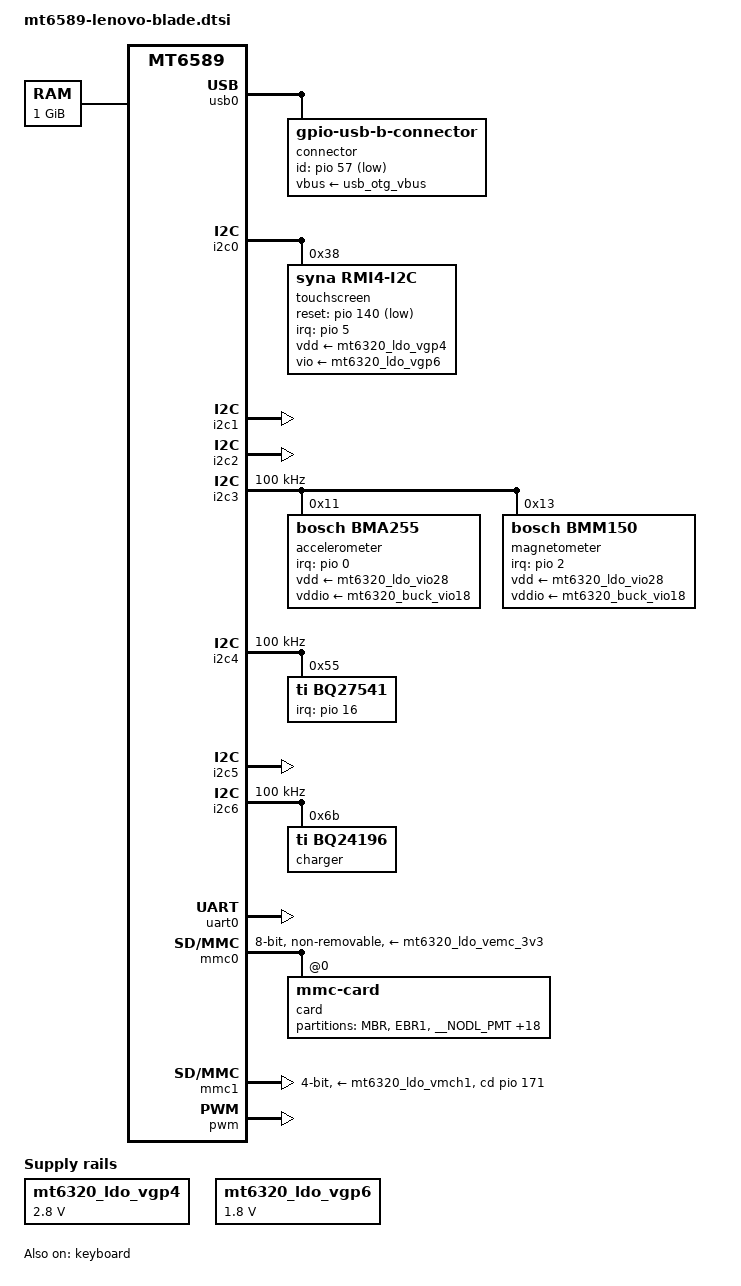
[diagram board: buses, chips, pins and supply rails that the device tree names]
// SPDX-License-Identifier: (GPL-2.0-only OR BSD-2-Clause)
/*
 * Copyright (c) 2026 Akari Tsuyukusa <akkun11.open@gmail.com>
 */

/dts-v1/;
#include <dt-bindings/input/input.h>

#include "mt6589.dtsi"
#include "mt6320.dtsi"

#include <dt-bindings/pinctrl/mt6589-pinfunc.h>
#include <dt-bindings/clock/mediatek,mt6320-clk.h>

/ {
	chosen {
		/* DEBUG: testing clock drivers */
		bootargs = "clk_ignore_unused regulator_ignore_unused";
	};

	memory {
		device_type = "memory";
		reg = <0x80000000 0x40000000>;
	};

	reserved-memory {
		#address-cells = <1>;
		#size-cells = <1>;

		ranges;

		framebuffer_reserved: memory@bf600000{
			reg = <0xbf600000 0xa00000>;
			no-map;
		};
	};
};

&cpu0 {
	proc-supply = <&mt6320_buck_vproc>;
	sram-supply = <&mt6320_buck_vsram>;
};

&cpu1 {
	proc-supply = <&mt6320_buck_vproc>;
	sram-supply = <&mt6320_buck_vsram>;
};

&cpu2 {
	proc-supply = <&mt6320_buck_vproc>;
	sram-supply = <&mt6320_buck_vsram>;
};

&cpu3 {
	proc-supply = <&mt6320_buck_vproc>;
	sram-supply = <&mt6320_buck_vsram>;
};

&pio {
	usb_pins: usb-pins {
		pins_iddig {
			pinmux = <MT6589_GPIO57__FUNC_GPIO57>;
			bias-pull-up;
			input-enable;
		};

		pins_eint34_conflict {
			pinmux = <MT6589_GPIO48__FUNC_GPIO48>;
			bias-pull-up;
			input-enable;
			input-schmitt-enable;
		};

		pins_drvvbus {
			pinmux = <MT6589_GPIO130__FUNC_USB_DRVVBUS>;
		};
	};

	ts_pins: touchscreen-default {
		pin-int {
			pinmux = <MT6589_GPIO124__FUNC_EINT5>;
			input-enable;
			bias-pull-up;
		};

		pin-reset {
			pinmux = <MT6589_GPIO140__FUNC_GPIO140>;
			output-high;
		};
	};
};

&mt6320_ldo_vgp4 {
	regulator-min-microvolt = <2800000>;
	regulator-max-microvolt = <2800000>;
};

&mt6320_ldo_vgp6 {
	regulator-min-microvolt = <1800000>;
	regulator-max-microvolt = <1800000>;
};

&usb0 {
	status = "okay";
	usb-role-switch;
	vusb-supply = <&mt6320_ldo_vusb>;
	pinctrl-names = "default";
	pinctrl-0 = <&usb_pins>;

	connector {
		compatible = "gpio-usb-b-connector", "usb-b-connector";
		type = "micro";
		id-gpios = <&pio 57 GPIO_ACTIVE_LOW>;
		vbus-supply = <&usb_otg_vbus>;
	};
};

&i2c0 {
	status = "okay";
	pinctrl-names = "default";
	pinctrl-0 = <&i2c0_pins>;
	// clock-frequency = <400000>;

	/* Synaptics ClearPad 7300 */
	touchscreen@38 {
		compatible = "syna,rmi4-i2c";
		reg = <0x38>;
		#address-cells = <1>;
		#size-cells = <0>;

		pinctrl-names = "default";
		pinctrl-0 = <&ts_pins>;

		interrupts = <5 IRQ_TYPE_EDGE_FALLING>;
		interrupt-parent = <&pio>;

		reset-gpios = <&pio 140 GPIO_ACTIVE_LOW>;

		vdd-supply = <&mt6320_ldo_vgp4>;
		vio-supply = <&mt6320_ldo_vgp6>;

		syna,startup-delay-ms = <100>;
		syna,reset-delay-ms = <50>;

		rmi4-f01@1 {
			reg = <0x1>;
		};

		rmi4-f11@11 {
			reg = <0x11>;
			syna,sensor-type = <1>;
		};

		rmi4-f34@34 {
			reg = <0x34>;
		};
	};
};

&i2c1 {
	status = "okay";
	pinctrl-names = "default";
	pinctrl-0 = <&i2c1_pins>;
};

&i2c2 {
	status = "okay";
	pinctrl-names = "default";
	pinctrl-0 = <&i2c2_pins>;
};

&i2c3 {
	status = "okay";
	pinctrl-names = "default";
	pinctrl-0 = <&i2c3_pins>;
	clock-frequency = <100000>;

	accelerometer@11 {
		compatible = "bosch,bma255";
		reg = <0x11>;

		// TODO: check
		vdd-supply = <&mt6320_ldo_vio28>;
		vddio-supply = <&mt6320_buck_vio18>;
		interrupts = <0 IRQ_TYPE_EDGE_RISING>;
		interrupt-parent = <&pio>;
		// mount-matrix = ?;
	};

	magnetometer@13 {
		compatible = "bosch,bmm150";
		reg = <0x13>;

		// TODO: check
		vdd-supply = <&mt6320_ldo_vio28>;
		vddio-supply = <&mt6320_buck_vio18>;
		interrupts = <2 IRQ_TYPE_EDGE_RISING>; // ?
		// and EINT6, EINT7? + EINT8?
		interrupt-parent = <&pio>;
		// mount-matrix = ?
	};
};

&i2c4 {
	status = "okay";
	clocks = <&pericfg CLK_PERI0_I2C4>,
		 <&mt6320clock MT6320_WRPCKPDN_I2C0>,
		 <&pericfg CLK_PERI0_APDMA>;
	pinctrl-names = "default";
	pinctrl-0 = <&mt6320_i2c0_pins>;
	clock-frequency = <100000>;

	bq27541: fuel-gauge@55 {
		compatible = "ti,bq27541";
		reg = <0x55>;

		interrupts = <16 IRQ_TYPE_EDGE_RISING>; // ?
		interrupt-parent = <&pio>;

		// monitored-battery = ;
	};
};

&i2c5 {
	status = "okay";
	clocks = <&pericfg CLK_PERI0_I2C5>,
		 <&mt6320clock MT6320_WRPCKPDN_I2C1>,
		 <&pericfg CLK_PERI0_APDMA>;
	pinctrl-names = "default";
	pinctrl-0 = <&mt6320_i2c1_pins>;
};

&i2c6 {
	status = "okay";
	clocks = <&pericfg CLK_PERI1_I2C6>,
		 <&mt6320clock MT6320_WRPCKPDN_I2C2>,
		 <&pericfg CLK_PERI0_APDMA>;
	pinctrl-names = "default";
	pinctrl-0 = <&mt6320_i2c2_pins>;
	clock-frequency = <100000>;

	charger@6b {
		compatible = "ti,bq24196";
		reg = <0x6b>;

		poll-interval = <10000>;

		// interrupts = <?? IRQ_TYPE_EDGE_RISING>; // KP row2 R1?
		interrupt-parent = <&pio>;

		// ce-gpios = ??; // KP col7 P5?
		// monitored-battery = ;

		usb_otg_vbus: usb-otg-vbus { };
	};
};

&uart0 {
	status = "okay";
};

/* Internal storage */
&mmc0 {
	status = "okay";
	pinctrl-names = "default", "state_uhs";
	pinctrl-0 = <&mmc0_pins_default>;
	pinctrl-1 = <&mmc0_pins_uhs>;
	vmmc-supply = <&mt6320_ldo_vemc_3v3>;
	vqmmc-supply = <&mt6320_ldo_vemc_1v8>;

	non-removable;
	no-sd;
	no-sdio;
	bus-width = <8>;

	max-frequency = <50000000>;

	// max-frequency = <200000000>;
	// cap-mmc-highspeed;
	// mmc-hs200-1_8v;
	// mmc-ddr-1_8v;

	#address-cells = <1>;
	#size-cells = <0>;

	card@0 {
		compatible = "mmc-card";
		reg = <0>;

		partitions {
			compatible = "fixed-partitions";
			#address-cells = <2>;
			#size-cells = <2>;

			partition@1e0000 {
				label = "MBR";
				reg = <0x00000000 0x001e0000 0x00000000 0x00080000>;
			};

			partition@260000 {
				label = "EBR1";
				reg = <0x00000000 0x00260000 0x00000000 0x00080000>;
			};

			partition@2e0000 {
				label = "__NODL_PMT";
				reg = <0x00000000 0x002e0000 0x00000000 0x00400000>;
			};

			partition@6e0000 {
				label = "__NODL_PRO_INFO";
				reg = <0x00000000 0x006e0000 0x00000000 0x00300000>;
			};

			partition@9e0000 {
				label = "__NODL_NVRAM";
				reg = <0x00000000 0x009e0000 0x00000000 0x00500000>;
			};

			partition@ee0000 {
				label = "__NODL_PROTECT_F";
				reg = <0x00000000 0x00ee0000 0x00000000 0x00a00000>;
			};

			partition@18e0000 {
				label = "__NODL_PROTECT_S";
				reg = <0x00000000 0x018e0000 0x00000000 0x00a00000>;
			};

			partition@22e0000 {
				label = "__NODL_SECCFG";
				reg = <0x00000000 0x022e0000 0x00000000 0x00020000>;
			};

			partition@2300000 {
				label = "UBOOT";
				reg = <0x00000000 0x02300000 0x00000000 0x00060000>;
			};

			partition@2360000 {
				label = "BOOTIMG";
				reg = <0x00000000 0x02360000 0x00000000 0x00600000>;
			};

			partition@2960000 {
				label = "RECOVERY";
				reg = <0x00000000 0x02960000 0x00000000 0x00600000>;
			};

			partition@2f60000 {
				label = "SEC_RO";
				reg = <0x00000000 0x02f60000 0x00000000 0x00600000>;
			};

			partition@3560000 {
				label = "__NODL_MISC";
				reg = <0x00000000 0x03560000 0x00000000 0x00080000>;
			};

			partition@35e0000 {
				label = "LOGO";
				reg = <0x00000000 0x035e0000 0x00000000 0x00300000>;
			};

			partition@38e0000 {
				label = "EBR2";
				reg = <0x00000000 0x038e0000 0x00000000 0x00080000>;
			};

			partition@3960000 {
				label = "__NODL_EXPDB";
				reg = <0x00000000 0x03960000 0x00000000 0x00a00000>;
			};

			partition@4360000 {
				label = "FAC";
				reg = <0x00000000 0x04360000 0x00000000 0x0c800000>;
			};

			partition@10b60000 {
				label = "ANDROID";
				reg = <0x00000000 0x10b60000 0x00000000 0x40000000>;
			};

			partition@50b60000 {
				label = "CACHE";
				reg = <0x00000000 0x50b60000 0x00000000 0x07e00000>;
			};

			partition@58960000 {
				label = "USRDATA";
				reg = <0x00000000 0x58960000 0x00000003 0x49fa0000>;
			};

			partition@3a2900000 {
				label = "__NODL_BMTPOOL";
				reg = <0x00000003 0xa2900000 0x00000000 0x01500000>;
			};
		};
	};
};

/* SD Card */
&mmc1 {
	status = "okay";
	pinctrl-names = "default", "state_uhs";
	pinctrl-0 = <&mmc1_pins_default>;
	pinctrl-1 = <&mmc1_pins_uhs>;
	vmmc-supply = <&mt6320_ldo_vmch1>;
	vqmmc-supply = <&mt6320_ldo_vmc1>;

	bus-width = <4>;
	no-mmc;
	no-sdio;
	/* TODO: recheck */
	cd-gpios = <&pio 171 GPIO_ACTIVE_HIGH>;

	max-frequency = <200000000>;
	cap-sd-highspeed;
	sd-uhs-sdr104;
	sd-uhs-sdr50;
	sd-uhs-ddr50;
};

/* SDIO */
&mmc3 {
	status = "disabled";
	pinctrl-names = "default", "state_uhs";
	pinctrl-0 = <&mmc3_pins_default>;
	pinctrl-1 = <&mmc3_pins_uhs>;
	/* FIXME: always 1.8V? */
	vmmc-supply = <&mt6320_ldo_vemc_3v3>;
	vqmmc-supply = <&mt6320_ldo_vemc_1v8>;

	bus-width = <4>;
	cap-sdio-irq;
	non-removable;
	no-mmc;
	no-sd;

	max-frequency = <200000000>;
	cap-sd-highspeed;
	sd-uhs-sdr104;
	sd-uhs-sdr50;
	sd-uhs-ddr50;
};

&keyboard {
	status = "okay";
	linux,keymap = <MATRIX_KEY(0, 0, KEY_VOLUMEUP)
			MATRIX_KEY(0, 2, KEY_VOLUMEDOWN)>;
	keypad,num-rows = <1>;
	keypad,num-columns = <3>;
	debounce-delay-ms = <32>;
};

&pwm {
	status = "okay";
};
